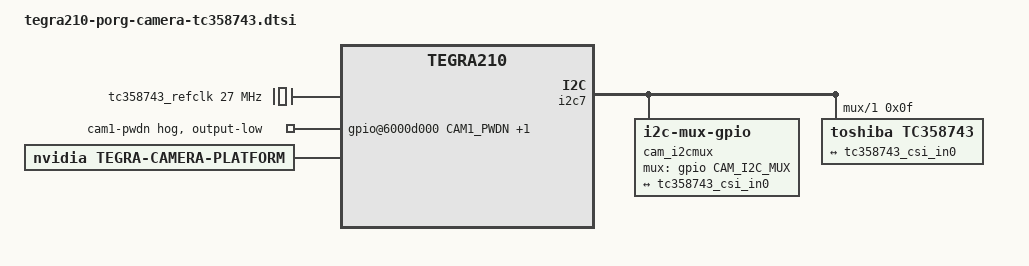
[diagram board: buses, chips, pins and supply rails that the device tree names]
// SPDX-License-Identifier: GPL-2.0-only
/*
 * TC358743 (HDMI -> CSI-2) en el conector CAM1 de la Jetson Nano B01.
 * Sustituye a los includes de imx219/imx477 del DT de la B01.
 *
 * - I2C: cam_i2cmux canal 1 (bus 8 en Linux), dirección 0x0f.
 * - CSI: puerto E (port-index 4, "serial_e"), 2 lanes, reloj CONTINUO.
 * - Sin nodos modeX: el canal VI usa la ruta "HDMI-IN" (dv_timings) y el
 *   NVCSI lee cil_settletime/discontinuous_clk de su nodo channel@0.
 * - Refclk: cristal de 27 MHz del módulo (fixed-clock).
 */
#include <dt-bindings/media/camera.h>
#include <dt-bindings/platform/t210/t210.h>

#define CAM1_PWDN		TEGRA_GPIO(S, 7)
#define CAM2_PWDN		TEGRA_GPIO(T, 0)
#define CAM_I2C_MUX		TEGRA_GPIO(I, 0)
/*
 * RESETN del TC358743 (pad "RST" de la placa, activo en bajo, pull-up a 3,3 V)
 * al pin 31 del conector de 40 pines (GPIO11 = PZ0): reset por hardware en
 * caliente (control "Hardware Reset" del driver). DESACTIVADO: con un cable
 * DIRECTO el conversor de nivel del conector (TXB0108) se queda enganchado en
 * bajo y deja el chip en reset incluso tras un ciclo de corriente (0,6 V en RST,
 * probado 2026-10-07). Solo con un transistor en drenador abierto (2N7000/BS170
 * o NPN: puerta/base al pin 31, drenador/colector a RST, fuente/emisor a GND)
 * y descomentando reset-gpios abajo. Ver README.
 */
#define TC358743_RESET		TEGRA_GPIO(Z, 0)

/ {
	tc358743_refclk: tc358743-refclk {
		compatible = "fixed-clock";
		#clock-cells = <0>;
		clock-frequency = <27000000>;
	};

	host1x {
		vi_base: vi {
			num-channels = <1>;
			ports {
				#address-cells = <1>;
				#size-cells = <0>;
				vi_port0: port@0 {
					reg = <0>;
					tc358743_vi_in0: endpoint {
						port-index = <4>;
						bus-width = <2>;
						remote-endpoint = <&tc358743_csi_out0>;
					};
				};
			};
		};

		csi_base: nvcsi {
			num-channels = <1>;
			#address-cells = <1>;
			#size-cells = <0>;
			csi_chan0: channel@0 {
				reg = <0>;
				discontinuous_clk = "no";
				cil_settletime = "0";
				ports {
					#address-cells = <1>;
					#size-cells = <0>;
					csi_chan0_port0: port@0 {
						reg = <0>;
						tc358743_csi_in0: endpoint@0 {
							port-index = <4>;
							bus-width = <2>;
							remote-endpoint = <&tc358743_out0>;
						};
					};
					csi_chan0_port1: port@1 {
						reg = <1>;
						tc358743_csi_out0: endpoint@1 {
							remote-endpoint = <&tc358743_vi_in0>;
						};
					};
				};
			};
		};
	};

	cam_i2cmux {
		compatible = "i2c-mux-gpio";
		#address-cells = <1>;
		#size-cells = <0>;
		mux-gpios = <&gpio CAM_I2C_MUX GPIO_ACTIVE_HIGH>;
		i2c-parent = <&i2c7>;
		i2c@0 {
			reg = <0>;
			#address-cells = <1>;
			#size-cells = <0>;
		};
		i2c@1 {
			reg = <1>;
			#address-cells = <1>;
			#size-cells = <0>;
			tc358743@f {
				compatible = "toshiba,tc358743";
				reg = <0x0f>;
				clocks = <&tc358743_refclk>;
				clock-names = "refclk";
				/* reset-gpios = <&gpio TC358743_RESET GPIO_ACTIVE_LOW>; (ver arriba) */
				status = "okay";
				ports {
					#address-cells = <1>;
					#size-cells = <0>;
					port@0 {
						reg = <0>;
						tc358743_out0: endpoint {
							port-index = <4>;
							bus-width = <2>;
							data-lanes = <1 2>;
							clock-lanes = <0>;
							/* 486 MHz DDR = 972 Mbps/lane: 1080p30 UYVY en 2 lanes (como RPi/mainline; máx. del chip 1 Gbps) */
							link-frequencies = /bits/ 64 <486000000>;
							remote-endpoint = <&tc358743_csi_in0>;
						};
					};
				};
			};
		};
	};

	/* Se mantiene el hog original: PWDN de CAM0/CAM1 a nivel bajo (el chip responde así). */
	gpio@6000d000 {
		camera-control-output-low {
			gpio-hog;
			output-low;
			gpios = < CAM1_PWDN 0  CAM2_PWDN 0>;
			label = "cam1-pwdn", "cam2-pwdn";
		};
	};

	tegra-camera-platform {
		compatible = "nvidia, tegra-camera-platform";
		num_csi_lanes = <2>;
		max_lane_speed = <1500000>;
		min_bits_per_pixel = <16>;
		vi_peak_byte_per_pixel = <2>;
		vi_bw_margin_pct = <25>;
		max_pixel_rate = <160000>;
		isp_peak_byte_per_pixel = <2>;
		isp_bw_margin_pct = <25>;
	};
};
